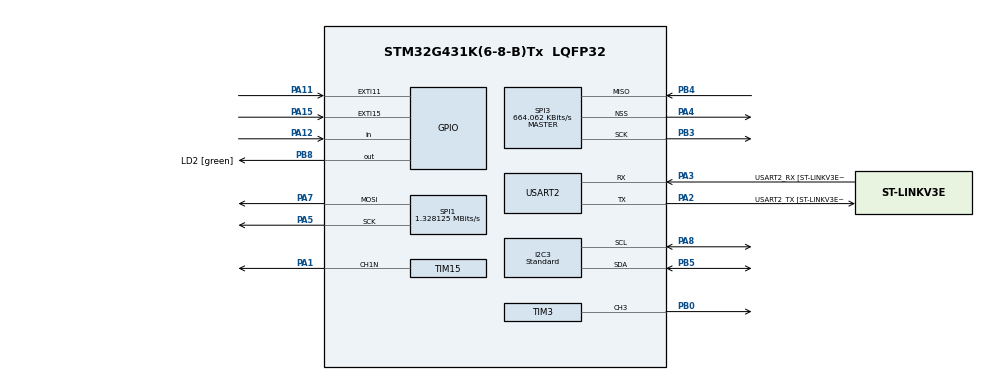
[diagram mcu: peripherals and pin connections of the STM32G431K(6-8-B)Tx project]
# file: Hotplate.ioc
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Dma.Request0=SPI1_TX
Dma.SPI1_TX.0.Direction=DMA_MEMORY_TO_PERIPH
Dma.SPI1_TX.0.EventEnable=DISABLE
Dma.SPI1_TX.0.Instance=DMA1_Channel2
Dma.SPI1_TX.0.MemDataAlignment=DMA_MDATAALIGN_BYTE
Dma.SPI1_TX.0.MemInc=DMA_MINC_ENABLE
Dma.SPI1_TX.0.Mode=DMA_NORMAL
Dma.SPI1_TX.0.PeriphDataAlignment=DMA_PDATAALIGN_BYTE
Dma.SPI1_TX.0.PeriphInc=DMA_PINC_DISABLE
Dma.SPI1_TX.0.Polarity=HAL_DMAMUX_REQ_GEN_RISING
Dma.SPI1_TX.0.Priority=DMA_PRIORITY_LOW
Dma.SPI1_TX.0.RequestNumber=1
Dma.SPI1_TX.0.SignalID=NONE
Dma.SPI1_TX.0.SyncEnable=DISABLE
Dma.SPI1_TX.0.SyncPolarity=HAL_DMAMUX_SYNC_NO_EVENT
Dma.SPI1_TX.0.SyncRequestNumber=1
Dma.SPI1_TX.0.SyncSignalID=NONE
I2C3.I2C_Speed_Mode=I2C_Standard
I2C3.Speed=100
I2C3.Timing=0x30A0A7FB
Mcu.Family=STM32G4
Mcu.Name=STM32G431K(6-8-B)Tx
Mcu.Package=LQFP32
NVIC.DMA1_Channel2_IRQn=true\:0\:0\:false\:false\:true\:false\:true\:true
NVIC.EXTI15_10_IRQn=true\:15\:0\:true\:false\:true\:true\:true\:true
NVIC.I2C3_ER_IRQn=true\:14\:0\:true\:false\:true\:true\:true\:true
NVIC.I2C3_EV_IRQn=true\:14\:0\:true\:false\:true\:true\:true\:true
NVIC.PriorityGroup=NVIC_PRIORITYGROUP_4
NVIC.SPI3_IRQn=true\:12\:0\:true\:false\:true\:true\:true\:true
NVIC.TIM1_UP_TIM16_IRQn=true\:0\:0\:false\:false\:true\:true\:true\:true
NVIC.TIM6_DAC_IRQn=true\:13\:0\:true\:false\:true\:true\:true\:true
NVIC.TIM7_IRQn=true\:12\:0\:true\:false\:true\:true\:true\:true
PA1.Mode=PWM Generation1 CH1N
PA1.Signal=TIM15_CH1N
PA11.GPIO_ModeDefaultEXTI=GPIO_MODE_IT_RISING_FALLING
PA11.Signal=GPXTI11
PA12.Signal=GPIO_Input
PA13.GPIO_Label=T_SWDIO
PA13.Mode=Serial_Wire
PA13.Signal=SYS_JTMS-SWDIO
PA14.GPIO_Label=T_SWCLK
PA14.Mode=Serial_Wire
PA14.Signal=SYS_JTCK-SWCLK
PA15.GPIO_ModeDefaultEXTI=GPIO_MODE_IT_FALLING
PA15.Signal=GPXTI15
PA2.GPIO_Label=USART2_TX [ST-LINKV3E_VCP_RX]
PA2.Mode=Asynchronous
PA2.Signal=USART2_TX
PA3.GPIO_Label=USART2_RX [ST-LINKV3E_VCP_TX]
PA3.Mode=Asynchronous
PA3.Signal=USART2_RX
PA4.Mode=NSS_Signal_Hard_Output
PA4.Signal=SPI3_NSS
PA5.Mode=TX_Only_Simplex_Unidirect_Master
PA5.Signal=SPI1_SCK
PA7.Mode=TX_Only_Simplex_Unidirect_Master
PA7.Signal=SPI1_MOSI
PA8.Mode=I2C
PA8.Signal=I2C3_SCL
PB0.Signal=S_TIM3_CH3
PB3.Mode=RX_Only_Simplex_Unidirect_Master
PB3.Signal=SPI3_SCK
PB4.Mode=RX_Only_Simplex_Unidirect_Master
PB4.Signal=SPI3_MISO
PB5.Mode=I2C
PB5.Signal=I2C3_SDA
PB8-BOOT0.GPIO_Label=LD2 [green]
PB8-BOOT0.Signal=GPIO_Output
ProjectManager.HeapSize=0x200
ProjectManager.StackSize=0x400
ProjectManager.TargetToolchain=STM32CubeIDE
RCC.ADC12Freq_Value=170000000
RCC.AHBFreq_Value=170000000
RCC.APB1Freq_Value=170000000
RCC.APB1TimFreq_Value=170000000
RCC.APB2Freq_Value=170000000
RCC.APB2TimFreq_Value=170000000
RCC.CortexFreq_Value=170000000
RCC.EXTERNAL_CLOCK_VALUE=12288000
RCC.HCLKFreq_Value=170000000
RCC.HSE_VALUE=8000000
RCC.HSI48_VALUE=48000000
RCC.HSI_VALUE=16000000
RCC.LSE_VALUE=32768
RCC.PLLM=RCC_PLLM_DIV4
RCC.PLLN=85
RCC.SYSCLKFreq_VALUE=170000000
RCC.SYSCLKSource=RCC_SYSCLKSOURCE_PLLCLK
RCC.USBFreq_Value=170000000
RCC.VCOOutputFreq_Value=340000000
SH.S_TIM3_CH3.0=TIM3_CH3,PWM Generation3 CH3
SPI1.BaudRatePrescaler=SPI_BAUDRATEPRESCALER_128
SPI1.CLKPolarity=SPI_POLARITY_LOW
SPI1.CalculateBaudRate=1.328125 MBits/s
SPI1.DataSize=SPI_DATASIZE_8BIT
SPI1.Direction=SPI_DIRECTION_2LINES
SPI1.Mode=SPI_MODE_MASTER
SPI1.VirtualType=VM_MASTER
SPI3.BaudRatePrescaler=SPI_BAUDRATEPRESCALER_256
SPI3.CalculateBaudRate=664.062 KBits/s
SPI3.DataSize=SPI_DATASIZE_16BIT
SPI3.Direction=SPI_DIRECTION_2LINES_RXONLY
SPI3.Mode=SPI_MODE_MASTER
SPI3.NSSPMode=SPI_NSS_PULSE_DISABLE
SPI3.VirtualNSS=VM_NSSHARD
SPI3.VirtualType=VM_MASTER
TIM15.Channel-PWM\ Generation1\ CH1N=TIM_CHANNEL_1
TIM15.OCNPolarity_1=TIM_OCNPOLARITY_LOW
TIM15.PeriodNoDither=2000
TIM15.Prescaler=3
TIM16.Prescaler=42499
TIM3.Channel-PWM\ Generation3\ CH3=TIM_CHANNEL_3
TIM3.PeriodNoDither=2000
TIM3.Prescaler=42499
TIM6.PeriodNoDither=17000
TIM6.Prescaler=1
TIM7.PeriodNoDither=8500
TIM7.Prescaler=9999
USART2.VirtualMode-Asynchronous=VM_ASYNC
USART2.WordLength=WORDLENGTH_8B
VP_TIM16_VS_ClockSourceINT.Mode=Enable_Timer
VP_TIM6_VS_ClockSourceINT.Mode=Enable_Timer
VP_TIM7_VS_ClockSourceINT.Mode=Enable_Timer
board=NUCLEO-G431KB

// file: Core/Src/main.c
/* USER CODE BEGIN Header */
/**
  ******************************************************************************
  * @file           : main.c
  * @brief          : Main program body
  ******************************************************************************
  * @attention
  *
  * Copyright (c) 2024 STMicroelectronics.
  * All rights reserved.
  *
  * This software is licensed under terms that can be found in the LICENSE file
  * in the root directory of this software component.
  * If no LICENSE file comes with this software, it is provided AS-IS.
  *
  ******************************************************************************
  */
/* USER CODE END Header */
#include "main.h"

/* USER CODE BEGIN Includes */
#include "UIController.h"
#include "logicControl.h"
#include "eeprom.h"
/* USER CODE END Includes */

void SystemClock_Config(void);
static void MX_GPIO_Init(void);
static void MX_DMA_Init(void);
static void MX_USART2_UART_Init(void);
static void MX_SPI1_Init(void);
static void MX_TIM6_Init(void);
static void MX_TIM7_Init(void);
static void MX_SPI3_Init(void);
static void MX_I2C3_Init(void);
static void MX_TIM16_Init(void);
static void MX_TIM3_Init(void);
static void MX_TIM15_Init(void);

int main(void)
{

  /* MCU Configuration--------------------------------------------------------*/

  /* Reset of all peripherals, Initializes the Flash interface and the Systick. */
  LL_APB2_GRP1_EnableClock(LL_APB2_GRP1_PERIPH_SYSCFG);
  LL_APB1_GRP1_EnableClock(LL_APB1_GRP1_PERIPH_PWR);

  /* System interrupt init*/
  NVIC_SetPriorityGrouping(NVIC_PRIORITYGROUP_4);

  /* Configure the system clock */
  SystemClock_Config();

  /* Initialize all configured peripherals */
  MX_GPIO_Init();
  MX_DMA_Init();
  MX_USART2_UART_Init();
  MX_SPI1_Init();
  MX_TIM6_Init();
  MX_TIM7_Init();
  MX_SPI3_Init();
  MX_I2C3_Init();
  MX_TIM16_Init();
  MX_TIM3_Init();
  MX_TIM15_Init();

  /* Infinite loop */
  /* USER CODE BEGIN WHILE */
  eepromInitialize();
  initializeUI();

  while (1)
  {
  	runLogicLoop();
  	runUILoop();
    /* USER CODE END WHILE */

  }
}

void SystemClock_Config(void)
{
  LL_FLASH_SetLatency(LL_FLASH_LATENCY_4);
  while(LL_FLASH_GetLatency() != LL_FLASH_LATENCY_4)
  {
  }
  LL_PWR_EnableRange1BoostMode();
  LL_RCC_HSI_Enable();
   /* Wait till HSI is ready */
  while(LL_RCC_HSI_IsReady() != 1)
  {
  }

  LL_RCC_HSI_SetCalibTrimming(64);
  LL_RCC_PLL_ConfigDomain_SYS(LL_RCC_PLLSOURCE_HSI, LL_RCC_PLLM_DIV_4, 85, LL_RCC_PLLR_DIV_2);
  LL_RCC_PLL_EnableDomain_SYS();
  LL_RCC_PLL_Enable();
   /* Wait till PLL is ready */
  while(LL_RCC_PLL_IsReady() != 1)
  {
  }

  LL_RCC_SetSysClkSource(LL_RCC_SYS_CLKSOURCE_PLL);
  LL_RCC_SetAHBPrescaler(LL_RCC_SYSCLK_DIV_2);
   /* Wait till System clock is ready */
  while(LL_RCC_GetSysClkSource() != LL_RCC_SYS_CLKSOURCE_STATUS_PLL)
  {
  }

  /* Insure 1us transition state at intermediate medium speed clock*/
  for (__IO uint32_t i = (170 >> 1); i !=0; i--);

  /* Set AHB prescaler*/
  LL_RCC_SetAHBPrescaler(LL_RCC_SYSCLK_DIV_1);
  LL_RCC_SetAPB1Prescaler(LL_RCC_APB1_DIV_1);
  LL_RCC_SetAPB2Prescaler(LL_RCC_APB2_DIV_1);

  LL_Init1msTick(170000000);

  LL_SetSystemCoreClock(170000000);
}

static void MX_I2C3_Init(void)
{

  LL_I2C_InitTypeDef I2C_InitStruct = {0};

  LL_GPIO_InitTypeDef GPIO_InitStruct = {0};

  LL_RCC_SetI2CClockSource(LL_RCC_I2C3_CLKSOURCE_PCLK1);

  LL_AHB2_GRP1_EnableClock(LL_AHB2_GRP1_PERIPH_GPIOA);
  LL_AHB2_GRP1_EnableClock(LL_AHB2_GRP1_PERIPH_GPIOB);
  /**I2C3 GPIO Configuration
  PA8   ------> I2C3_SCL
  PB5   ------> I2C3_SDA
  */
  GPIO_InitStruct.Pin = LL_GPIO_PIN_8;
  GPIO_InitStruct.Mode = LL_GPIO_MODE_ALTERNATE;
  GPIO_InitStruct.Speed = LL_GPIO_SPEED_FREQ_LOW;
  GPIO_InitStruct.OutputType = LL_GPIO_OUTPUT_OPENDRAIN;
  GPIO_InitStruct.Pull = LL_GPIO_PULL_NO;
  GPIO_InitStruct.Alternate = LL_GPIO_AF_2;
  LL_GPIO_Init(GPIOA, &GPIO_InitStruct);

  GPIO_InitStruct.Pin = LL_GPIO_PIN_5;
  GPIO_InitStruct.Mode = LL_GPIO_MODE_ALTERNATE;
  GPIO_InitStruct.Speed = LL_GPIO_SPEED_FREQ_LOW;
  GPIO_InitStruct.OutputType = LL_GPIO_OUTPUT_OPENDRAIN;
  GPIO_InitStruct.Pull = LL_GPIO_PULL_NO;
  GPIO_InitStruct.Alternate = LL_GPIO_AF_8;
  LL_GPIO_Init(GPIOB, &GPIO_InitStruct);

  /* Peripheral clock enable */
  LL_APB1_GRP1_EnableClock(LL_APB1_GRP1_PERIPH_I2C3);

  /* I2C3 interrupt Init */
  NVIC_SetPriority(I2C3_EV_IRQn, NVIC_EncodePriority(NVIC_GetPriorityGrouping(),14, 0));
  NVIC_EnableIRQ(I2C3_EV_IRQn);
  NVIC_SetPriority(I2C3_ER_IRQn, NVIC_EncodePriority(NVIC_GetPriorityGrouping(),14, 0));
  NVIC_EnableIRQ(I2C3_ER_IRQn);

  /** I2C Initialization
  */
  I2C_InitStruct.PeripheralMode = LL_I2C_MODE_I2C;
  I2C_InitStruct.Timing = 0x30A0A7FB;
  I2C_InitStruct.AnalogFilter = LL_I2C_ANALOGFILTER_ENABLE;
  I2C_InitStruct.DigitalFilter = 0;
  I2C_InitStruct.OwnAddress1 = 0;
  I2C_InitStruct.TypeAcknowledge = LL_I2C_ACK;
  I2C_InitStruct.OwnAddrSize = LL_I2C_OWNADDRESS1_7BIT;
  LL_I2C_Init(I2C3, &I2C_InitStruct);
  LL_I2C_EnableAutoEndMode(I2C3);
  LL_I2C_SetOwnAddress2(I2C3, 0, LL_I2C_OWNADDRESS2_NOMASK);
  LL_I2C_DisableOwnAddress2(I2C3);
  LL_I2C_DisableGeneralCall(I2C3);
  LL_I2C_EnableClockStretching(I2C3);
  /* USER CODE BEGIN I2C3_Init 2 */
  LL_GPIO_SetPinPull(GPIOA, LL_GPIO_PIN_8, LL_GPIO_PULL_UP);
  LL_GPIO_SetPinPull(GPIOB, LL_GPIO_PIN_5, LL_GPIO_PULL_UP);
  /* USER CODE END I2C3_Init 2 */

}

static void MX_SPI1_Init(void)
{

  LL_SPI_InitTypeDef SPI_InitStruct = {0};

  LL_GPIO_InitTypeDef GPIO_InitStruct = {0};

  /* Peripheral clock enable */
  LL_APB2_GRP1_EnableClock(LL_APB2_GRP1_PERIPH_SPI1);

  LL_AHB2_GRP1_EnableClock(LL_AHB2_GRP1_PERIPH_GPIOA);
  /**SPI1 GPIO Configuration
  PA5   ------> SPI1_SCK
  PA7   ------> SPI1_MOSI
  */
  GPIO_InitStruct.Pin = LL_GPIO_PIN_5;
  GPIO_InitStruct.Mode = LL_GPIO_MODE_ALTERNATE;
  GPIO_InitStruct.Speed = LL_GPIO_SPEED_FREQ_LOW;
  GPIO_InitStruct.OutputType = LL_GPIO_OUTPUT_PUSHPULL;
  GPIO_InitStruct.Pull = LL_GPIO_PULL_NO;
  GPIO_InitStruct.Alternate = LL_GPIO_AF_5;
  LL_GPIO_Init(GPIOA, &GPIO_InitStruct);

  GPIO_InitStruct.Pin = LL_GPIO_PIN_7;
  GPIO_InitStruct.Mode = LL_GPIO_MODE_ALTERNATE;
  GPIO_InitStruct.Speed = LL_GPIO_SPEED_FREQ_LOW;
  GPIO_InitStruct.OutputType = LL_GPIO_OUTPUT_PUSHPULL;
  GPIO_InitStruct.Pull = LL_GPIO_PULL_NO;
  GPIO_InitStruct.Alternate = LL_GPIO_AF_5;
  LL_GPIO_Init(GPIOA, &GPIO_InitStruct);

  /* SPI1 DMA Init */

  /* SPI1_TX Init */
  LL_DMA_SetPeriphRequest(DMA1, LL_DMA_CHANNEL_2, LL_DMAMUX_REQ_SPI1_TX);

  LL_DMA_SetDataTransferDirection(DMA1, LL_DMA_CHANNEL_2, LL_DMA_DIRECTION_MEMORY_TO_PERIPH);

  LL_DMA_SetChannelPriorityLevel(DMA1, LL_DMA_CHANNEL_2, LL_DMA_PRIORITY_LOW);

  LL_DMA_SetMode(DMA1, LL_DMA_CHANNEL_2, LL_DMA_MODE_NORMAL);

  LL_DMA_SetPeriphIncMode(DMA1, LL_DMA_CHANNEL_2, LL_DMA_PERIPH_NOINCREMENT);

  LL_DMA_SetMemoryIncMode(DMA1, LL_DMA_CHANNEL_2, LL_DMA_MEMORY_INCREMENT);

  LL_DMA_SetPeriphSize(DMA1, LL_DMA_CHANNEL_2, LL_DMA_PDATAALIGN_BYTE);

  LL_DMA_SetMemorySize(DMA1, LL_DMA_CHANNEL_2, LL_DMA_MDATAALIGN_BYTE);

  /* SPI1 parameter configuration*/
  SPI_InitStruct.TransferDirection = LL_SPI_FULL_DUPLEX;
  SPI_InitStruct.Mode = LL_SPI_MODE_MASTER;
  SPI_InitStruct.DataWidth = LL_SPI_DATAWIDTH_8BIT;
  SPI_InitStruct.ClockPolarity = LL_SPI_POLARITY_LOW;
  SPI_InitStruct.ClockPhase = LL_SPI_PHASE_1EDGE;
  SPI_InitStruct.NSS = LL_SPI_NSS_SOFT;
  SPI_InitStruct.BaudRate = LL_SPI_BAUDRATEPRESCALER_DIV128;
  SPI_InitStruct.BitOrder = LL_SPI_MSB_FIRST;
  SPI_InitStruct.CRCCalculation = LL_SPI_CRCCALCULATION_DISABLE;
  SPI_InitStruct.CRCPoly = 7;
  LL_SPI_Init(SPI1, &SPI_InitStruct);
  LL_SPI_SetStandard(SPI1, LL_SPI_PROTOCOL_MOTOROLA);
  LL_SPI_EnableNSSPulseMgt(SPI1);
  /* USER CODE BEGIN SPI1_Init 2 */
  LL_SPI_EnableDMAReq_TX(SPI1);
  LL_DMA_EnableIT_TC(DMA1, LL_DMA_CHANNEL_2);
  /* USER CODE END SPI1_Init 2 */

}

static void MX_SPI3_Init(void)
{

  LL_SPI_InitTypeDef SPI_InitStruct = {0};

  LL_GPIO_InitTypeDef GPIO_InitStruct = {0};

  /* Peripheral clock enable */
  LL_APB1_GRP1_EnableClock(LL_APB1_GRP1_PERIPH_SPI3);

  LL_AHB2_GRP1_EnableClock(LL_AHB2_GRP1_PERIPH_GPIOA);
  LL_AHB2_GRP1_EnableClock(LL_AHB2_GRP1_PERIPH_GPIOB);
  /**SPI3 GPIO Configuration
  PA4   ------> SPI3_NSS
  PB3   ------> SPI3_SCK
  PB4   ------> SPI3_MISO
  */
  GPIO_InitStruct.Pin = LL_GPIO_PIN_4;
  GPIO_InitStruct.Mode = LL_GPIO_MODE_ALTERNATE;
  GPIO_InitStruct.Speed = LL_GPIO_SPEED_FREQ_LOW;
  GPIO_InitStruct.OutputType = LL_GPIO_OUTPUT_PUSHPULL;
  GPIO_InitStruct.Pull = LL_GPIO_PULL_NO;
  GPIO_InitStruct.Alternate = LL_GPIO_AF_6;
  LL_GPIO_Init(GPIOA, &GPIO_InitStruct);

  GPIO_InitStruct.Pin = LL_GPIO_PIN_3;
  GPIO_InitStruct.Mode = LL_GPIO_MODE_ALTERNATE;
  GPIO_InitStruct.Speed = LL_GPIO_SPEED_FREQ_LOW;
  GPIO_InitStruct.OutputType = LL_GPIO_OUTPUT_PUSHPULL;
  GPIO_InitStruct.Pull = LL_GPIO_PULL_NO;
  GPIO_InitStruct.Alternate = LL_GPIO_AF_6;
  LL_GPIO_Init(GPIOB, &GPIO_InitStruct);

  GPIO_InitStruct.Pin = LL_GPIO_PIN_4;
  GPIO_InitStruct.Mode = LL_GPIO_MODE_ALTERNATE;
  GPIO_InitStruct.Speed = LL_GPIO_SPEED_FREQ_LOW;
  GPIO_InitStruct.OutputType = LL_GPIO_OUTPUT_PUSHPULL;
  GPIO_InitStruct.Pull = LL_GPIO_PULL_NO;
  GPIO_InitStruct.Alternate = LL_GPIO_AF_6;
  LL_GPIO_Init(GPIOB, &GPIO_InitStruct);

  /* SPI3 interrupt Init */
  NVIC_SetPriority(SPI3_IRQn, NVIC_EncodePriority(NVIC_GetPriorityGrouping(),12, 0));
  NVIC_EnableIRQ(SPI3_IRQn);

  /* SPI3 parameter configuration*/
  SPI_InitStruct.TransferDirection = LL_SPI_SIMPLEX_RX;
  SPI_InitStruct.Mode = LL_SPI_MODE_MASTER;
  SPI_InitStruct.DataWidth = LL_SPI_DATAWIDTH_16BIT;
  SPI_InitStruct.ClockPolarity = LL_SPI_POLARITY_LOW;
  SPI_InitStruct.ClockPhase = LL_SPI_PHASE_1EDGE;
  SPI_InitStruct.NSS = LL_SPI_NSS_HARD_OUTPUT;
  SPI_InitStruct.BaudRate = LL_SPI_BAUDRATEPRESCALER_DIV256;
  SPI_InitStruct.BitOrder = LL_SPI_MSB_FIRST;
  SPI_InitStruct.CRCCalculation = LL_SPI_CRCCALCULATION_DISABLE;
  SPI_InitStruct.CRCPoly = 7;
  LL_SPI_Init(SPI3, &SPI_InitStruct);
  LL_SPI_SetStandard(SPI3, LL_SPI_PROTOCOL_MOTOROLA);
  LL_SPI_DisableNSSPulseMgt(SPI3);
  /* USER CODE BEGIN SPI3_Init 2 */
  LL_GPIO_SetPinPull(GPIOA, LL_GPIO_PIN_4, LL_GPIO_PULL_UP);

  LL_SPI_EnableIT_RXNE(SPI3);
  LL_SPI_SetRxFIFOThreshold(SPI3, LL_SPI_RX_FIFO_TH_HALF);
  /* USER CODE END SPI3_Init 2 */

}

static void MX_TIM3_Init(void)
{

  LL_TIM_InitTypeDef TIM_InitStruct = {0};
  LL_TIM_OC_InitTypeDef TIM_OC_InitStruct = {0};

  LL_GPIO_InitTypeDef GPIO_InitStruct = {0};

  /* Peripheral clock enable */
  LL_APB1_GRP1_EnableClock(LL_APB1_GRP1_PERIPH_TIM3);

  TIM_InitStruct.Prescaler = 42499;
  TIM_InitStruct.CounterMode = LL_TIM_COUNTERMODE_UP;
  TIM_InitStruct.Autoreload = 2000;
  TIM_InitStruct.ClockDivision = LL_TIM_CLOCKDIVISION_DIV1;
  LL_TIM_Init(TIM3, &TIM_InitStruct);
  LL_TIM_DisableARRPreload(TIM3);
  LL_TIM_OC_EnablePreload(TIM3, LL_TIM_CHANNEL_CH3);
  TIM_OC_InitStruct.OCMode = LL_TIM_OCMODE_PWM1;
  TIM_OC_InitStruct.OCState = LL_TIM_OCSTATE_DISABLE;
  TIM_OC_InitStruct.OCNState = LL_TIM_OCSTATE_DISABLE;
  TIM_OC_InitStruct.CompareValue = 0;
  TIM_OC_InitStruct.OCPolarity = LL_TIM_OCPOLARITY_HIGH;
  LL_TIM_OC_Init(TIM3, LL_TIM_CHANNEL_CH3, &TIM_OC_InitStruct);
  LL_TIM_OC_DisableFast(TIM3, LL_TIM_CHANNEL_CH3);
  LL_TIM_SetTriggerOutput(TIM3, LL_TIM_TRGO_RESET);
  LL_TIM_DisableMasterSlaveMode(TIM3);
  /* USER CODE BEGIN TIM3_Init 2 */
  LL_TIM_EnableCounter(TIM3);
  LL_TIM_CC_EnableChannel(TIM3, LL_TIM_CHANNEL_CH3);
  LL_TIM_EnableAllOutputs(TIM3);
  //LL_TIM_EnableAllOutputs(TIM3);
  /* USER CODE END TIM3_Init 2 */
  LL_AHB2_GRP1_EnableClock(LL_AHB2_GRP1_PERIPH_GPIOB);
  /**TIM3 GPIO Configuration
  PB0   ------> TIM3_CH3
  */
  GPIO_InitStruct.Pin = LL_GPIO_PIN_0;
  GPIO_InitStruct.Mode = LL_GPIO_MODE_ALTERNATE;
  GPIO_InitStruct.Speed = LL_GPIO_SPEED_FREQ_LOW;
  GPIO_InitStruct.OutputType = LL_GPIO_OUTPUT_PUSHPULL;
  GPIO_InitStruct.Pull = LL_GPIO_PULL_NO;
  GPIO_InitStruct.Alternate = LL_GPIO_AF_2;
  LL_GPIO_Init(GPIOB, &GPIO_InitStruct);

}

static void MX_TIM6_Init(void)
{

  LL_TIM_InitTypeDef TIM_InitStruct = {0};

  /* Peripheral clock enable */
  LL_APB1_GRP1_EnableClock(LL_APB1_GRP1_PERIPH_TIM6);

  /* TIM6 interrupt Init */
  NVIC_SetPriority(TIM6_DAC_IRQn, NVIC_EncodePriority(NVIC_GetPriorityGrouping(),13, 0));
  NVIC_EnableIRQ(TIM6_DAC_IRQn);

  TIM_InitStruct.Prescaler = 1;
  TIM_InitStruct.CounterMode = LL_TIM_COUNTERMODE_UP;
  TIM_InitStruct.Autoreload = 17000;
  LL_TIM_Init(TIM6, &TIM_InitStruct);
  LL_TIM_DisableARRPreload(TIM6);
  LL_TIM_SetTriggerOutput(TIM6, LL_TIM_TRGO_RESET);
  LL_TIM_DisableMasterSlaveMode(TIM6);
  /* USER CODE BEGIN TIM6_Init 2 */
  LL_TIM_SetUpdateSource(TIM6, LL_TIM_UPDATESOURCE_COUNTER);
  LL_TIM_DisableCounter(TIM6);
  /* USER CODE END TIM6_Init 2 */

}

static void MX_TIM7_Init(void)
{

  LL_TIM_InitTypeDef TIM_InitStruct = {0};

  /* Peripheral clock enable */
  LL_APB1_GRP1_EnableClock(LL_APB1_GRP1_PERIPH_TIM7);

  /* TIM7 interrupt Init */
  NVIC_SetPriority(TIM7_IRQn, NVIC_EncodePriority(NVIC_GetPriorityGrouping(),12, 0));
  NVIC_EnableIRQ(TIM7_IRQn);

  TIM_InitStruct.Prescaler = 9999;
  TIM_InitStruct.CounterMode = LL_TIM_COUNTERMODE_UP;
  TIM_InitStruct.Autoreload = 8500;
  LL_TIM_Init(TIM7, &TIM_InitStruct);
  LL_TIM_DisableARRPreload(TIM7);
  LL_TIM_SetTriggerOutput(TIM7, LL_TIM_TRGO_RESET);
  LL_TIM_DisableMasterSlaveMode(TIM7);
  /* USER CODE BEGIN TIM7_Init 2 */
  LL_TIM_SetPrescaler(TIM7, PID_PRESCALER);
  LL_TIM_SetAutoReload(TIM7, PID_COUNTER);
  /* USER CODE END TIM7_Init 2 */

}

static void MX_TIM15_Init(void)
{

  LL_TIM_InitTypeDef TIM_InitStruct = {0};
  LL_TIM_OC_InitTypeDef TIM_OC_InitStruct = {0};
  LL_TIM_BDTR_InitTypeDef TIM_BDTRInitStruct = {0};

  LL_GPIO_InitTypeDef GPIO_InitStruct = {0};

  /* Peripheral clock enable */
  LL_APB2_GRP1_EnableClock(LL_APB2_GRP1_PERIPH_TIM15);

  TIM_InitStruct.Prescaler = 3;
  TIM_InitStruct.CounterMode = LL_TIM_COUNTERMODE_UP;
  TIM_InitStruct.Autoreload = 2000;
  TIM_InitStruct.ClockDivision = LL_TIM_CLOCKDIVISION_DIV1;
  TIM_InitStruct.RepetitionCounter = 0;
  LL_TIM_Init(TIM15, &TIM_InitStruct);
  LL_TIM_DisableARRPreload(TIM15);
  LL_TIM_OC_EnablePreload(TIM15, LL_TIM_CHANNEL_CH1);
  TIM_OC_InitStruct.OCMode = LL_TIM_OCMODE_PWM1;
  TIM_OC_InitStruct.OCState = LL_TIM_OCSTATE_DISABLE;
  TIM_OC_InitStruct.OCNState = LL_TIM_OCSTATE_DISABLE;
  TIM_OC_InitStruct.CompareValue = 0;
  TIM_OC_InitStruct.OCPolarity = LL_TIM_OCPOLARITY_HIGH;
  TIM_OC_InitStruct.OCNPolarity = LL_TIM_OCPOLARITY_LOW;
  TIM_OC_InitStruct.OCIdleState = LL_TIM_OCIDLESTATE_LOW;
  TIM_OC_InitStruct.OCNIdleState = LL_TIM_OCIDLESTATE_LOW;
  LL_TIM_OC_Init(TIM15, LL_TIM_CHANNEL_CH1, &TIM_OC_InitStruct);
  LL_TIM_OC_DisableFast(TIM15, LL_TIM_CHANNEL_CH1);
  LL_TIM_SetTriggerOutput(TIM15, LL_TIM_TRGO_RESET);
  LL_TIM_DisableMasterSlaveMode(TIM15);
  TIM_BDTRInitStruct.OSSRState = LL_TIM_OSSR_DISABLE;
  TIM_BDTRInitStruct.OSSIState = LL_TIM_OSSI_DISABLE;
  TIM_BDTRInitStruct.LockLevel = LL_TIM_LOCKLEVEL_OFF;
  TIM_BDTRInitStruct.DeadTime = 0;
  TIM_BDTRInitStruct.BreakState = LL_TIM_BREAK_DISABLE;
  TIM_BDTRInitStruct.BreakPolarity = LL_TIM_BREAK_POLARITY_HIGH;
  TIM_BDTRInitStruct.BreakFilter = LL_TIM_BREAK_FILTER_FDIV1;
  TIM_BDTRInitStruct.AutomaticOutput = LL_TIM_AUTOMATICOUTPUT_DISABLE;
  LL_TIM_BDTR_Init(TIM15, &TIM_BDTRInitStruct);
  /* USER CODE BEGIN TIM15_Init 2 */
  LL_TIM_EnableCounter(TIM15);
  LL_TIM_CC_EnableChannel(TIM15, LL_TIM_CHANNEL_CH1N);
  LL_TIM_EnableAllOutputs(TIM15);
  /* USER CODE END TIM15_Init 2 */
  LL_AHB2_GRP1_EnableClock(LL_AHB2_GRP1_PERIPH_GPIOA);
  /**TIM15 GPIO Configuration
  PA1   ------> TIM15_CH1N
  */
  GPIO_InitStruct.Pin = LL_GPIO_PIN_1;
  GPIO_InitStruct.Mode = LL_GPIO_MODE_ALTERNATE;
  GPIO_InitStruct.Speed = LL_GPIO_SPEED_FREQ_LOW;
  GPIO_InitStruct.OutputType = LL_GPIO_OUTPUT_PUSHPULL;
  GPIO_InitStruct.Pull = LL_GPIO_PULL_NO;
  GPIO_InitStruct.Alternate = LL_GPIO_AF_9;
  LL_GPIO_Init(GPIOA, &GPIO_InitStruct);

}

static void MX_TIM16_Init(void)
{

  LL_TIM_InitTypeDef TIM_InitStruct = {0};

  /* Peripheral clock enable */
  LL_APB2_GRP1_EnableClock(LL_APB2_GRP1_PERIPH_TIM16);

  /* TIM16 interrupt Init */
  NVIC_SetPriority(TIM1_UP_TIM16_IRQn, NVIC_EncodePriority(NVIC_GetPriorityGrouping(),0, 0));
  NVIC_EnableIRQ(TIM1_UP_TIM16_IRQn);

  TIM_InitStruct.Prescaler = 42499;
  TIM_InitStruct.CounterMode = LL_TIM_COUNTERMODE_UP;
  TIM_InitStruct.Autoreload = 65535;
  TIM_InitStruct.ClockDivision = LL_TIM_CLOCKDIVISION_DIV1;
  TIM_InitStruct.RepetitionCounter = 0;
  LL_TIM_Init(TIM16, &TIM_InitStruct);
  LL_TIM_DisableARRPreload(TIM16);
  /* USER CODE BEGIN TIM16_Init 2 */
  // Timer used for debouncing timer
  LL_TIM_EnableCounter(TIM16);
  LL_TIM_EnableIT_UPDATE(TIM16);
  /* USER CODE END TIM16_Init 2 */

}

static void MX_USART2_UART_Init(void)
{

  LL_USART_InitTypeDef USART_InitStruct = {0};

  LL_GPIO_InitTypeDef GPIO_InitStruct = {0};

  LL_RCC_SetUSARTClockSource(LL_RCC_USART2_CLKSOURCE_PCLK1);

  /* Peripheral clock enable */
  LL_APB1_GRP1_EnableClock(LL_APB1_GRP1_PERIPH_USART2);

  LL_AHB2_GRP1_EnableClock(LL_AHB2_GRP1_PERIPH_GPIOA);
  /**USART2 GPIO Configuration
  PA2   ------> USART2_TX
  PA3   ------> USART2_RX
  */
  GPIO_InitStruct.Pin = USART2_TX_Pin;
  GPIO_InitStruct.Mode = LL_GPIO_MODE_ALTERNATE;
  GPIO_InitStruct.Speed = LL_GPIO_SPEED_FREQ_LOW;
  GPIO_InitStruct.OutputType = LL_GPIO_OUTPUT_PUSHPULL;
  GPIO_InitStruct.Pull = LL_GPIO_PULL_NO;
  GPIO_InitStruct.Alternate = LL_GPIO_AF_7;
  LL_GPIO_Init(USART2_TX_GPIO_Port, &GPIO_InitStruct);

  GPIO_InitStruct.Pin = USART2_RX_Pin;
  GPIO_InitStruct.Mode = LL_GPIO_MODE_ALTERNATE;
  GPIO_InitStruct.Speed = LL_GPIO_SPEED_FREQ_LOW;
  GPIO_InitStruct.OutputType = LL_GPIO_OUTPUT_PUSHPULL;
  GPIO_InitStruct.Pull = LL_GPIO_PULL_NO;
  GPIO_InitStruct.Alternate = LL_GPIO_AF_7;
  LL_GPIO_Init(USART2_RX_GPIO_Port, &GPIO_InitStruct);

  USART_InitStruct.PrescalerValue = LL_USART_PRESCALER_DIV1;
  USART_InitStruct.BaudRate = 115200;
  USART_InitStruct.DataWidth = LL_USART_DATAWIDTH_8B;
  USART_InitStruct.StopBits = LL_USART_STOPBITS_1;
  USART_InitStruct.Parity = LL_USART_PARITY_NONE;
  USART_InitStruct.TransferDirection = LL_USART_DIRECTION_TX_RX;
  USART_InitStruct.HardwareFlowControl = LL_USART_HWCONTROL_NONE;
  USART_InitStruct.OverSampling = LL_USART_OVERSAMPLING_16;
  LL_USART_Init(USART2, &USART_InitStruct);
  LL_USART_SetTXFIFOThreshold(USART2, LL_USART_FIFOTHRESHOLD_1_8);
  LL_USART_SetRXFIFOThreshold(USART2, LL_USART_FIFOTHRESHOLD_1_8);
  LL_USART_DisableFIFO(USART2);
  LL_USART_ConfigAsyncMode(USART2);

  LL_USART_Enable(USART2);

  /* Polling USART2 initialisation */
  while((!(LL_USART_IsActiveFlag_TEACK(USART2))) || (!(LL_USART_IsActiveFlag_REACK(USART2))))
  {
  }

}

static void MX_DMA_Init(void)
{

  /* Init with LL driver */
  /* DMA controller clock enable */
  LL_AHB1_GRP1_EnableClock(LL_AHB1_GRP1_PERIPH_DMAMUX1);
  LL_AHB1_GRP1_EnableClock(LL_AHB1_GRP1_PERIPH_DMA1);

  /* DMA interrupt init */
  /* DMA1_Channel2_IRQn interrupt configuration */
  NVIC_SetPriority(DMA1_Channel2_IRQn, NVIC_EncodePriority(NVIC_GetPriorityGrouping(),0, 0));
  NVIC_EnableIRQ(DMA1_Channel2_IRQn);

}

static void MX_GPIO_Init(void)
{
  LL_EXTI_InitTypeDef EXTI_InitStruct = {0};
  LL_GPIO_InitTypeDef GPIO_InitStruct = {0};

  /* GPIO Ports Clock Enable */
  LL_AHB2_GRP1_EnableClock(LL_AHB2_GRP1_PERIPH_GPIOA);
  LL_AHB2_GRP1_EnableClock(LL_AHB2_GRP1_PERIPH_GPIOB);

  /**/
  LL_GPIO_ResetOutputPin(LD2_GPIO_Port, LD2_Pin);

  /**/
  LL_SYSCFG_SetEXTISource(LL_SYSCFG_EXTI_PORTA, LL_SYSCFG_EXTI_LINE11);

  /**/
  LL_SYSCFG_SetEXTISource(LL_SYSCFG_EXTI_PORTA, LL_SYSCFG_EXTI_LINE15);

  /**/
  EXTI_InitStruct.Line_0_31 = LL_EXTI_LINE_11;
  EXTI_InitStruct.LineCommand = ENABLE;
  EXTI_InitStruct.Mode = LL_EXTI_MODE_IT;
  EXTI_InitStruct.Trigger = LL_EXTI_TRIGGER_RISING_FALLING;
  LL_EXTI_Init(&EXTI_InitStruct);

  /**/
  EXTI_InitStruct.Line_0_31 = LL_EXTI_LINE_15;
  EXTI_InitStruct.LineCommand = ENABLE;
  EXTI_InitStruct.Mode = LL_EXTI_MODE_IT;
  EXTI_InitStruct.Trigger = LL_EXTI_TRIGGER_FALLING;
  LL_EXTI_Init(&EXTI_InitStruct);

  /**/
  LL_GPIO_SetPinPull(GPIOA, LL_GPIO_PIN_11, LL_GPIO_PULL_NO);

  /**/
  LL_GPIO_SetPinPull(GPIOA, LL_GPIO_PIN_15, LL_GPIO_PULL_NO);

  /**/
  LL_GPIO_SetPinMode(GPIOA, LL_GPIO_PIN_11, LL_GPIO_MODE_INPUT);

  /**/
  LL_GPIO_SetPinMode(GPIOA, LL_GPIO_PIN_15, LL_GPIO_MODE_INPUT);

  /**/
  GPIO_InitStruct.Pin = LL_GPIO_PIN_12;
  GPIO_InitStruct.Mode = LL_GPIO_MODE_INPUT;
  GPIO_InitStruct.Pull = LL_GPIO_PULL_NO;
  LL_GPIO_Init(GPIOA, &GPIO_InitStruct);

  /**/
  GPIO_InitStruct.Pin = LD2_Pin;
  GPIO_InitStruct.Mode = LL_GPIO_MODE_OUTPUT;
  GPIO_InitStruct.Speed = LL_GPIO_SPEED_FREQ_LOW;
  GPIO_InitStruct.OutputType = LL_GPIO_OUTPUT_PUSHPULL;
  GPIO_InitStruct.Pull = LL_GPIO_PULL_NO;
  LL_GPIO_Init(LD2_GPIO_Port, &GPIO_InitStruct);

  /* EXTI interrupt init*/
  NVIC_SetPriority(EXTI15_10_IRQn, NVIC_EncodePriority(NVIC_GetPriorityGrouping(),15, 0));
  NVIC_EnableIRQ(EXTI15_10_IRQn);

/* USER CODE BEGIN MX_GPIO_Init_2 */
  LL_EXTI_DisableIT_0_31(LL_EXTI_LINE_12);
  LL_EXTI_DisableIT_0_31(LL_EXTI_LINE_15);
/* USER CODE END MX_GPIO_Init_2 */
}

void Error_Handler(void)
{
  __disable_irq();
  while (1)
  {
  }
}
